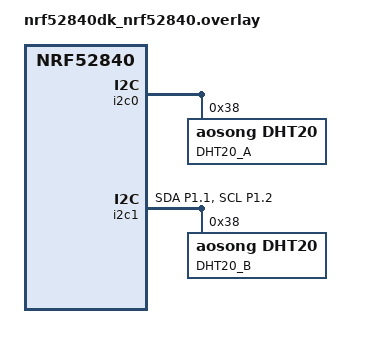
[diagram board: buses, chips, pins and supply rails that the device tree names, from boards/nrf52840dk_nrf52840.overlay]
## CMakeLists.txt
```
cmake_minimum_required(VERSION 3.20.0)
find_package(Zephyr REQUIRED HINTS $ENV{ZEPHYR_BASE})

list(APPEND ZEPHYR_EXTRA_MODULES
  ${CMAKE_CURRENT_SOURCE_DIR}/drivers
)
find_package(Zephyr REQUIRED HINTS $ENV{ZEPHYR_BASE})

project(DHT20)

target_sources(app PRIVATE src/main.c)
zephyr_include_directories(drivers)
```

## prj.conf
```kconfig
CONFIG_I2C=y
CONFIG_SENSOR=y
CONFIG_FPU=y
# CONFIG_LOG_DEFAULT_LEVEL=4
CONFIG_DHT20=y
CONFIG_PWM=y
CONFIG_LOG=y
CONFIG_CBPRINTF_FP_SUPPORT=y
CONFIG_NEWLIB_LIBC=y
CONFIG_NEWLIB_LIBC_FLOAT_PRINTF=y #this fixed the issue where snfprint was not printing the double values.

# --- NETWORK CONFIG --- #

# Enable OpenThread FTD features set
CONFIG_OPENTHREAD_NORDIC_LIBRARY_FTD=y

# L2 OpenThread enabling
CONFIG_NET_L2_OPENTHREAD=y

# Generic networking options
CONFIG_NETWORKING=y

# Network parameter
CONFIG_OPENTHREAD_MANUAL_START=n
CONFIG_OPENTHREAD_NETWORK_NAME="WSN69"
CONFIG_OPENTHREAD_PANID=10069
CONFIG_OPENTHREAD_CHANNEL=10
CONFIG_OPENTHREAD_XPANID="fb:02:00:00:ab:cd:00:69"
CONFIG_OPENTHREAD_NETWORKKEY="00:11:22:33:44:55:66:77:88:99:aa:bb:cc:dd:ee:gg"

# Network shell
CONFIG_SHELL=y
CONFIG_OPENTHREAD_SHELL=y
CONFIG_SHELL_ARGC_MAX=26
CONFIG_SHELL_CMD_BUFF_SIZE=416

#Additional parameter
CONFIG_MBEDTLS_SHA1_C=n

# --- NETWORK CONFIG --- #
```

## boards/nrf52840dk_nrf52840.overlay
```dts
/ {
    /* 1. Give them friendly names for your C code */
    aliases {
        sensor-a = &dht20_a;
        sensor-b = &dht20_b;
    };
};
/* --- BUS 1 (Existing) --- */
&i2c0 {
    status = "okay";
    dht20_a: dht20@38 {
        compatible = "aosong,dht20";
        reg = <0x38>;
        label = "DHT20_A";
    };
};

/* --- BUS 2 (New) --- */
&pinctrl {
    /* Define which pins i2c1 will use (P1.01 and P1.02) */
    i2c1_default: i2c1_default {
        group1 {
            psels = <NRF_PSEL(TWIM_SDA, 1, 1)>,
                    <NRF_PSEL(TWIM_SCL, 1, 2)>;
        };
    };

    i2c1_sleep: i2c1_sleep {
        group1 {
            psels = <NRF_PSEL(TWIM_SDA, 1, 1)>,
                    <NRF_PSEL(TWIM_SCL, 1, 2)>;
            low-power-enable;
        };
    };
};

&i2c1 {
    status = "okay";
    /* Link the pins we defined above to this bus */
    pinctrl-0 = <&i2c1_default>;
    pinctrl-1 = <&i2c1_sleep>;
    pinctrl-names = "default", "sleep";

    dht20_b: dht20@38 {
        compatible = "aosong,dht20";
        reg = <0x38>; 
        label = "DHT20_B";
    };
};
```

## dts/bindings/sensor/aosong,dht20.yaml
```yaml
#
# Copyright (c) 2024 Nathan Olff
#
# SPDX-License-Identifier: Apache-2.0

description: |
    Aosong DHT20 (Digital-output Humidity and Temperature Sensor)

    The Aosong DHT20 sensor provides temperature and humidity
    measurements through an I2C bus.

compatible: "aosong,dht20"

include: [sensor-device.yaml, i2c-device.yaml]
```

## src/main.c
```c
/**
 * @file main.c
 * @brief Main Firmware for the Sensor Node
 * * This firmware implements a multi-threaded RTOS architecture for:
 * 1. System Health Monitoring (Fault Detection)
 * 2. Telemetry Reporting (Temp/Humidity)
 * 3. VTT Mold Risk Modeling (Edge Computing)
 * * @platform Nordic nRF52840 (Zephyr RTOS)
 * @authors: muzamil.py, Google Gemini 3 Pro
 * NOTE: Main Architecture designed by muzamil.py. Optimization, Code Reviews and Code Documentation by Google Gemini 3 Pro.
 */
#include <zephyr/kernel.h>
#include <zephyr/sys/printk.h>
#include <zephyr/device.h>
#include <zephyr/logging/log.h>
#include <zephyr/drivers/sensor.h>

// Sensor Driver
#include "sensor/dht20/dht20.c"

// Custom Modules
#include "modules/system_health.h"
#include "modules/vtt_model.h"
#include "modules/messaging_service.h"

#if !DT_HAS_COMPAT_STATUS_OKAY(aosong_dht20)
#error "No aosong,dht20 compatible node found in the device tree"
#endif


// * --- CONFIGURATION --- *
#define ROOM_NAME "Bathroom"
#define ALERT_MESSAGE "ALERT"
#define DATA_MESSAGE "DATA"
#define TIME_STEP 1.0f
#define STACK_SIZE 2048
#define IS_SIMULATION_NODE true
int sim_flag = IS_SIMULATION_NODE ? 1 : 0;

// * --- Global Status Flags (Protected by Logic) --- *
bool sensor_a_enabled = false;
bool sensor_b_enabled = false;


// * --- SHARED RESOURCES --- * 
const struct device *dht20_dev_a = DEVICE_DT_GET(DT_ALIAS(sensor_a));
const struct device *dht20_dev_b = DEVICE_DT_GET(DT_ALIAS(sensor_b));


// * ---- Thread Priorities (Lower # = Higher Priority) --- *
#define HIGHEST_PRIORITY 1
#define MEDIUM_PRIORITY 2
#define LOWEST_PRIORITY 3

// * --- OS PRIMITIVES --- *

// * MUTEX LOCKS
K_MUTEX_DEFINE(sensors_lock); // Protects I2C Bus Access
K_MUTEX_DEFINE(coap_lock); // Protects OpenThread Radio Buffer

// * THREAD STACKS & DATA 
struct k_thread system_health_data;
struct k_thread vtt_model_data;
struct k_thread simple_data;

K_THREAD_STACK_DEFINE(system_health_stack, STACK_SIZE);
K_THREAD_STACK_DEFINE(vtt_model_stack, STACK_SIZE);
K_THREAD_STACK_DEFINE(simple_data_stack, STACK_SIZE);


bool get_simulated_weather(float *temp, float *hum) {
        // 1 Real Second = 1 Simulated Hour (Divide by 1000)
        int64_t sim_hour = k_uptime_get() / 1000; 
        
        // 24-hour cycle
        int64_t current_cycle_hour = sim_hour % 24;
    
        // SCENARIO A: CONSTANT TROPICAL ENVIRONMENT (Bathroom)
        *temp = 24.0; 
        *hum = 90.0; 
        
        return true;
    }

/*
 * @brief Helper function to safely read active sensors.
 * Handles fetching, and averaging if redundant sensors are active.
 * * @param[out] out_temp  Pointer to store final temperature (deg C)
 * @param[out] out_hum   Pointer to store final humidity (%)
 * @return true if valid data read, false if all sensors failed
 */
bool get_sensor_data(float *temparature, float *humidity)
        {
                struct sensor_value temparature_value, humidity_value;
                // Case 1: Redundancy Mode (Both Active)
                if (sensor_a_enabled && sensor_b_enabled) {
                        LOG_DBG("[HELPER] Reading Both Sensors...");

                        // 1. Fetch Raw Data
                        sensor_sample_fetch(dht20_dev_a);
                        sensor_sample_fetch(dht20_dev_b);

                        // 2. Process Sensor A
                        sensor_channel_get(dht20_dev_a, SENSOR_CHAN_AMBIENT_TEMP, &temparature_value);
                        sensor_channel_get(dht20_dev_a, SENSOR_CHAN_HUMIDITY, &humidity_value);
                        float sensor_a_temp = sensor_value_to_double(&temparature_value);
                        float sensor_a_humi = sensor_value_to_double(&humidity_value);

                        // 3. Process Sensor B
                        sensor_channel_get(dht20_dev_b, SENSOR_CHAN_AMBIENT_TEMP, &temparature_value);
                        sensor_channel_get(dht20_dev_b, SENSOR_CHAN_HUMIDITY, &humidity_value);
                        float sensor_b_temp = sensor_value_to_double(&temparature_value);
                        float sensor_b_humi = sensor_value_to_double(&humidity_value);

                        // 4. Average
                        *temparature = (sensor_a_temp + sensor_b_temp) / 2.0f;
                        *humidity = (sensor_a_humi + sensor_b_humi) / 2.0f;
                        return true;

                } else if (sensor_a_enabled || sensor_b_enabled) {
                        const struct device *working_sensor = sensor_a_enabled ? dht20_dev_a : dht20_dev_b;
                        LOG_WRN("[HELPER] Failover: Using Single Sensor.");

                        sensor_sample_fetch(working_sensor);
                        sensor_channel_get(working_sensor, SENSOR_CHAN_AMBIENT_TEMP, &temparature_value);
                        sensor_channel_get(working_sensor, SENSOR_CHAN_HUMIDITY, &humidity_value);
                        *temparature = sensor_value_to_double(&temparature_value);
                        *humidity = sensor_value_to_double(&humidity_value);
                        return true;
                }
                return false; // No Sensor Available
}


/*
 * @thread System Health
 * @priority HIGH (1)
 * @period 10 Seconds
 * Checks physical sensor wiring/status. Generates alerts on failure.
 */
void system_health_entry_point(void *p1, void *p2, void *p3){
        health_status_code_t status[2] = {0,0};
        health_status_code_t previous_status[2] = {0,0};
        bool state_changed = false;

        while(1){
                LOG_DBG("[HEALTH] Checking Hardware...");

                // 1. Hardware Check (Protected)
                k_mutex_lock(&sensors_lock, K_FOREVER);
                check_system_health(dht20_dev_a, dht20_dev_b, status);
                
                // Update Global Flags safely
                sensor_a_enabled = (status[0] <= 1);
                sensor_b_enabled = (status[1] <= 1);
                k_mutex_unlock(&sensors_lock);

                // 2. Reporting (Protected)
                k_mutex_lock(&coap_lock, K_FOREVER);

                // Logic: Send ALERT only if Critical Error (>1)
                // ? Keeping this block just for logging to db, in Python, we would remove sending the Alert by checking status (previous implementation)
                bool is_critical = (status[0] > 1 || status[1] > 1);
                if (is_critical){
                        LOG_ERR("[HEALTH] CRITICAL FAILURE! A:%d B:%d", status[0], status[1]);
                        // if critical or not critical, just send the data as simple. 
                        msg_send_system_health_status(ALERT_MESSAGE, ROOM_NAME, status[0], status[1]);
                } else {
                        // ! IN CASE OF SENSOR DRIFT - SYSTEM HEALTH WILL BE SENT AS NORMAL
                        msg_send_system_health_status(DATA_MESSAGE, ROOM_NAME, status[0], status[1]);
                }

                // Logic: If status(current states) are different from Previous States, send an alert. (Sensor/s either broke or fixed)
                state_changed = (status[0] != previous_status[0]) || (status[1] != previous_status[1]);
                if (state_changed){
                        if (!(previous_status[0] == status[0] && previous_status[1] == status[1])){
                                if((status[0] == HEALTH_OK && status[1] == HEALTH_OK)){
                                        msg_send_system_alert("sensor_fixed", ROOM_NAME, status[0], status[1]);
                                        LOG_INF("✅ Sensor State Changed: FIXED");
                                } else if ((status[0] != HEALTH_OK || status[1] != HEALTH_OK)){
                                        msg_send_system_alert("sensor_fail", ROOM_NAME, status[0], status[1]);
                                        LOG_ERR("⚠️ Sensor State Changed: FAILURE Detected");
                                }
                        }
                }
                previous_status[0] = status[0];
                previous_status[1] = status[1];
                k_mutex_unlock(&coap_lock);
                k_msleep(10000); // Check every 10s
        }
}


/*
 * @thread Telemetry (Simple Data)
 * @priority MEDIUM (2)
 * @period 60 Seconds
 * Sends raw Temperature & Humidity data to dashboard.
 */
void simple_data_entry_point(void *p1, void *p2, void *p3){
        while(1){
                float temparature = 0.0f, humidity = 0.0f;  
                bool valid_read = false;

                // 1. Get Data
                k_mutex_lock(&sensors_lock, K_FOREVER);
                if (IS_SIMULATION_NODE) {
                        valid_read = get_simulated_weather(&temparature, &humidity);
                } else {
                        valid_read = get_sensor_data(&temparature, &humidity);
                }
                k_mutex_unlock(&sensors_lock);

                // 2. Send Data
                if (valid_read){
                        k_mutex_lock(&coap_lock, K_FOREVER);
                        
                        LOG_INF("[TELEMETRY] Sending Sensor Data....");
                        msg_send_simple_data(DATA_MESSAGE, ROOM_NAME, temparature, humidity, sim_flag);
                        k_mutex_unlock(&coap_lock);
                } else {
                        LOG_WRN("[TELEMETRY] Skipped: Sensors unavailable");
                }
                k_msleep(1000);
        }
}

/*
 * @thread VTT Model
 * @priority LOW (3)
 * @period 15 Minutes (900s)
 * Calculates Mold Risk Index using VTT equation.
 */
void vtt_model_entry_point(void *p1, void *p2, void *p3){
        vtt_state_t room_state;

        // Initialize Model (Material Class: Sensitive)
        vtt_init(&room_state, VTT_MAT_SENSITIVE);

        while(1){
                bool valid_read = false;
                float temparature = 0.0f, humidity = 0.0f;  

                // 1. Get Data
                k_mutex_lock(&sensors_lock, K_FOREVER);
                if (IS_SIMULATION_NODE) {
                        valid_read = get_simulated_weather(&temparature, &humidity);
                } else {
                        valid_read = get_sensor_data(&temparature, &humidity);
                }
                k_mutex_unlock(&sensors_lock);

                // 2. Process & Send
                if (valid_read){
                        LOG_INF("[VTT] Running Model...");

                        vtt_update(&room_state, temparature, humidity, TIME_STEP);
                        vtt_risk_level_t mold_risk_level = vtt_get_risk_level(&room_state); 
                        k_mutex_lock(&coap_lock, K_FOREVER);

                        // Determine Message Type (Alert if Risk High OR actively growing)
                        char *msg_type = (mold_risk_level == MOLD_RISK_CLEAN && !room_state.growing_condition) 
                             ? DATA_MESSAGE : ALERT_MESSAGE;

                        msg_send_mold_status(msg_type, ROOM_NAME, temparature, humidity, room_state.mold_index, mold_risk_level, room_state.growing_condition, room_state.rh_crit, sim_flag);
                        k_mutex_unlock(&coap_lock);

                } else {
                        LOG_WRN("[VTT] Skipped: Sensors unavailable");
                }
                k_msleep(1000);
        }
}

int main(void)
{
        LOG_INF("--- Sensor Node Booting ---");

        // * 1. Initialize Network Stack
        msg_init();

        // * 2. Wait for Network Attachment
        LOG_INF("[MAIN] Waiting for OpenThread Attachment (10s)...");
        k_sleep(K_SECONDS(10));

        // * 3. Spawn Threads

        // System Health (Starts NOW)
        k_thread_create(&system_health_data, system_health_stack, K_THREAD_STACK_SIZEOF(system_health_stack), system_health_entry_point, NULL,NULL,NULL, HIGHEST_PRIORITY, 0, K_NO_WAIT);

        // Telemetry (Starts +4s)
        k_thread_create(&simple_data, simple_data_stack, K_THREAD_STACK_SIZEOF(simple_data_stack), simple_data_entry_point, NULL,NULL,NULL, MEDIUM_PRIORITY, 0, K_SECONDS(4));
        
        // VTT Model (Starts +4s)
        k_thread_create(&vtt_model_data, vtt_model_stack, K_THREAD_STACK_SIZEOF(vtt_model_stack), vtt_model_entry_point, NULL,NULL,NULL, LOWEST_PRIORITY, 0, K_SECONDS(4));

        LOG_INF("[MAIN] All threads spawned. Entering Idle.");
        return 0;
}
```
